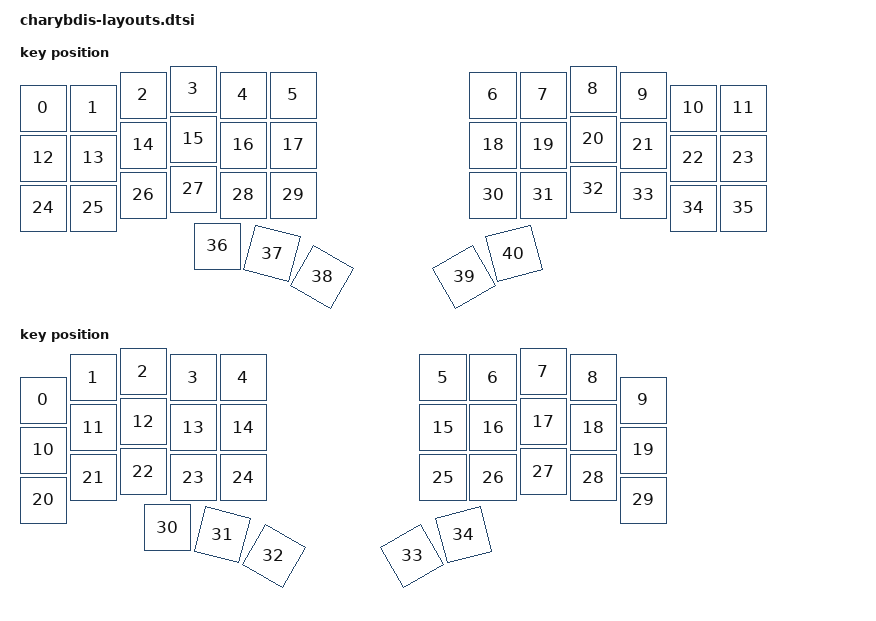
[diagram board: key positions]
#include <physical_layouts.dtsi>

/ {
    charybdis_6col_layout: charybdis_6col_layout {
        compatible = "zmk,physical-layout";
        display-name = "Charybdis 3x6";
        status = "okay";
        kscan = <&kscan0>;
        transform = <&six_column_transform>;

        keys
            // Left Half - Main Keys
            //                       w   h    x    y     rot    rx    ry
            = <&key_physical_attrs 100 100    0   38       0     0     0>
            , <&key_physical_attrs 100 100  100   38       0     0     0>
            , <&key_physical_attrs 100 100  200   12       0     0     0>
            , <&key_physical_attrs 100 100  300    0       0     0     0>
            , <&key_physical_attrs 100 100  400   12       0     0     0>
            , <&key_physical_attrs 100 100  500   12       0     0     0>
            , <&key_physical_attrs 100 100  900   12       0     0     0>
            , <&key_physical_attrs 100 100 1000   12       0     0     0>
            , <&key_physical_attrs 100 100 1100    0       0     0     0>
            , <&key_physical_attrs 100 100 1200   12       0     0     0>
            , <&key_physical_attrs 100 100 1300   38       0     0     0>
            , <&key_physical_attrs 100 100 1400   38       0     0     0>
            , <&key_physical_attrs 100 100    0  138       0     0     0>
            , <&key_physical_attrs 100 100  100  138       0     0     0>
            , <&key_physical_attrs 100 100  200  112       0     0     0>
            , <&key_physical_attrs 100 100  300  100       0     0     0>
            , <&key_physical_attrs 100 100  400  112       0     0     0>
            , <&key_physical_attrs 100 100  500  112       0     0     0>

            // Right Half - Main Keys
            //                       w   h    x    y     rot    rx    ry
            , <&key_physical_attrs 100 100  900  112       0     0     0>
            , <&key_physical_attrs 100 100 1000  112       0     0     0>
            , <&key_physical_attrs 100 100 1100  100       0     0     0>
            , <&key_physical_attrs 100 100 1200  112       0     0     0>
            , <&key_physical_attrs 100 100 1300  138       0     0     0>
            , <&key_physical_attrs 100 100 1400  138       0     0     0>
            , <&key_physical_attrs 100 100    0  238       0     0     0>
            , <&key_physical_attrs 100 100  100  238       0     0     0>
            , <&key_physical_attrs 100 100  200  212       0     0     0>
            , <&key_physical_attrs 100 100  300  200       0     0     0>
            , <&key_physical_attrs 100 100  400  212       0     0     0>
            , <&key_physical_attrs 100 100  500  212       0     0     0>
            , <&key_physical_attrs 100 100  900  212       0     0     0>
            , <&key_physical_attrs 100 100 1000  212       0     0     0>
            , <&key_physical_attrs 100 100 1100  200       0     0     0>
            , <&key_physical_attrs 100 100 1200  212       0     0     0>
            , <&key_physical_attrs 100 100 1300  238       0     0     0>
            , <&key_physical_attrs 100 100 1400  238       0     0     0>

            // Thumb Clusters
            //                       w   h    x    y     rot    rx    ry
            , <&key_physical_attrs 100 100  348  314       0     0     0>
            , <&key_physical_attrs 100 100  348  314    1500   398   790>
            , <&key_physical_attrs 100 100  348  320    3000   398   790>
            , <&key_physical_attrs 100 100 1052  320 (-3000)  1102   790>
            , <&key_physical_attrs 100 100 1052  314 (-1500)  1102   790>
            ;
    };

    charybdis_5col_layout: charybdis_5col_layout{
        compatible = "zmk,physical-layout";
        display-name = "Charybdis 3x5";
        status = "okay";
        kscan = <&kscan0>;
        transform = <&five_column_transform>;

        keys  //                     w   h    x    y     rot    rx    ry
            = <&key_physical_attrs 100 100    0   57       0     0     0>
            , <&key_physical_attrs 100 100  100   12       0     0     0>
            , <&key_physical_attrs 100 100  200    0       0     0     0>
            , <&key_physical_attrs 100 100  300   12       0     0     0>
            , <&key_physical_attrs 100 100  400   12       0     0     0>
            , <&key_physical_attrs 100 100  800   12       0     0     0>
            , <&key_physical_attrs 100 100  900   12       0     0     0>
            , <&key_physical_attrs 100 100 1000    0       0     0     0>
            , <&key_physical_attrs 100 100 1100   12       0     0     0>
            , <&key_physical_attrs 100 100 1200   57       0     0     0>
            , <&key_physical_attrs 100 100    0  157       0     0     0>
            , <&key_physical_attrs 100 100  100  112       0     0     0>
            , <&key_physical_attrs 100 100  200  100       0     0     0>
            , <&key_physical_attrs 100 100  300  112       0     0     0>
            , <&key_physical_attrs 100 100  400  112       0     0     0>
            , <&key_physical_attrs 100 100  800  112       0     0     0>
            , <&key_physical_attrs 100 100  900  112       0     0     0>
            , <&key_physical_attrs 100 100 1000  100       0     0     0>
            , <&key_physical_attrs 100 100 1100  112       0     0     0>
            , <&key_physical_attrs 100 100 1200  157       0     0     0>
            , <&key_physical_attrs 100 100    0  257       0     0     0>
            , <&key_physical_attrs 100 100  100  212       0     0     0>
            , <&key_physical_attrs 100 100  200  200       0     0     0>
            , <&key_physical_attrs 100 100  300  212       0     0     0>
            , <&key_physical_attrs 100 100  400  212       0     0     0>
            , <&key_physical_attrs 100 100  800  212       0     0     0>
            , <&key_physical_attrs 100 100  900  212       0     0     0>
            , <&key_physical_attrs 100 100 1000  200       0     0     0>
            , <&key_physical_attrs 100 100 1100  212       0     0     0>
            , <&key_physical_attrs 100 100 1200  257       0     0     0>
            , <&key_physical_attrs 100 100  248  312       0     0     0>
            , <&key_physical_attrs 100 100  248  312    1500   298   789>
            , <&key_physical_attrs 100 100  248  312    3000   298   789>
            , <&key_physical_attrs 100 100  952  312 (-3000)  1002   789>
            , <&key_physical_attrs 100 100  952  312 (-1500)  1002   789>
            ;
    };

};
